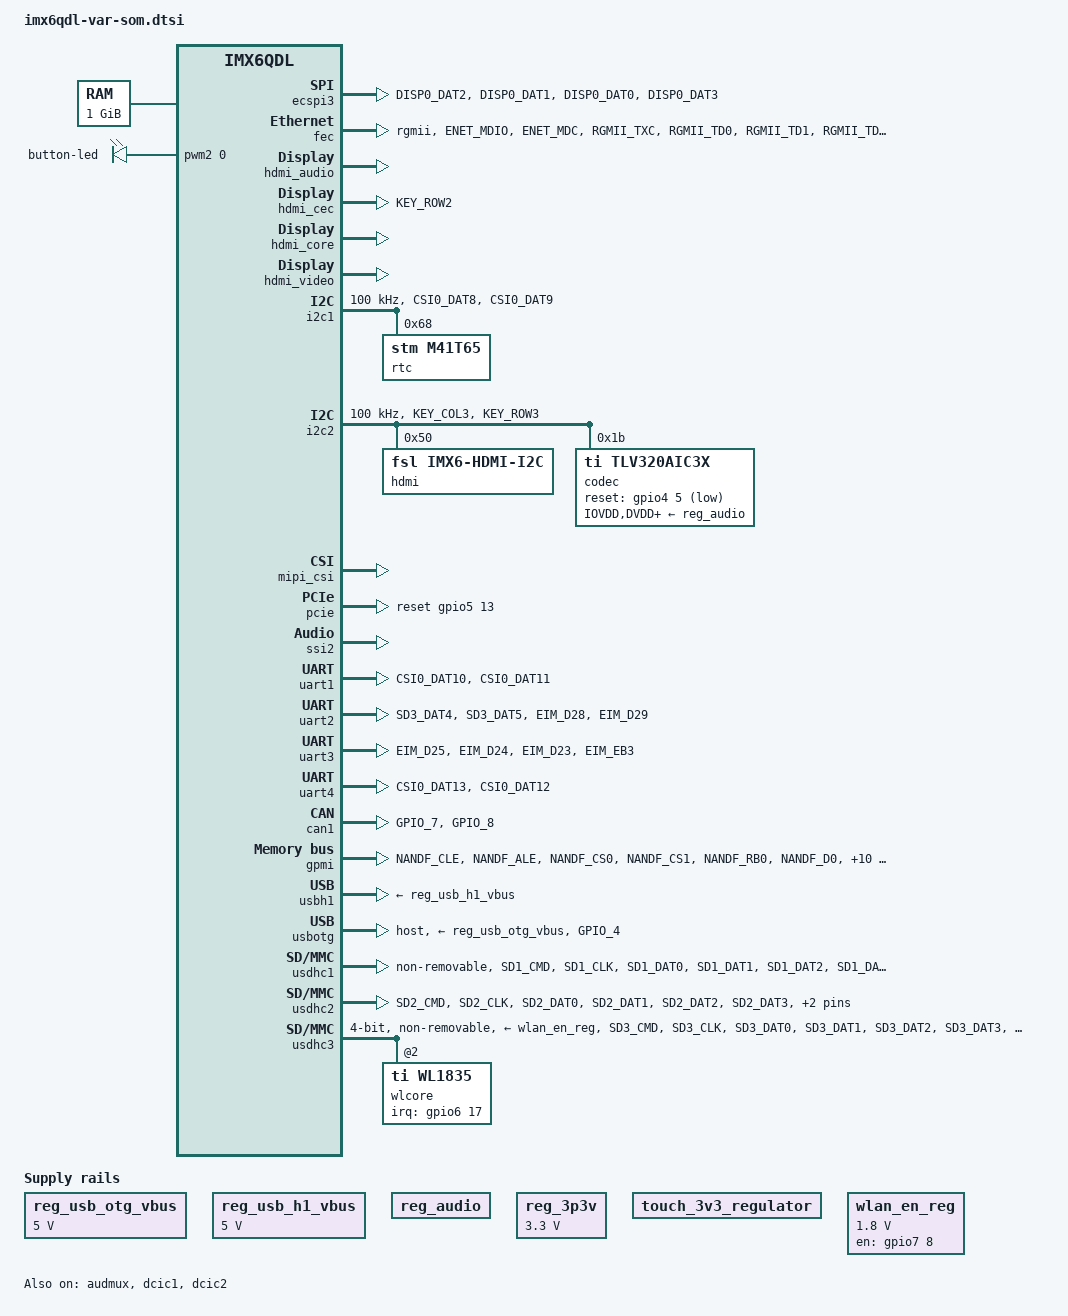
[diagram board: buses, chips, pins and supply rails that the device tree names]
/*
 * Copyright (C) 2014-2016 Variscite, Ltd. All Rights Reserved
 * Donio Ron: ron.d@variscite.com
 *
 * Copyright 2012 Freescale Semiconductor, Inc.
 * Copyright 2011 Linaro Ltd.
 *
 * The code contained herein is licensed under the GNU General Public
 * License. You may obtain a copy of the GNU General Public License
 * Version 2 or later at the following locations:
 *
 * http://www.opensource.org/licenses/gpl-license.html
 * http://www.gnu.org/copyleft/gpl.html
 */

#include <dt-bindings/gpio/gpio.h>
#include <dt-bindings/input/input.h>

/ {
	aliases {
		mxcfb0 = &mxcfb1;
		mxcfb1 = &mxcfb2;
		mxcfb2 = &mxcfb3;
		mxcfb3 = &mxcfb4;
	};

	chosen {
		stdout-path = &uart1;
	};

	memory: memory {
		reg = <0x10000000 0x40000000>;
	};

	regulators {
		compatible = "simple-bus";
		#address-cells = <1>;
		#size-cells = <0>;

		reg_usb_otg_vbus: regulator@0 {
			compatible = "regulator-fixed";
			reg = <0>;
			regulator-name = "usb_otg_vbus";
			regulator-min-microvolt = <5000000>;
			regulator-max-microvolt = <5000000>;
		};

		reg_usb_h1_vbus: regulator@1 {
			compatible = "regulator-fixed";
			reg = <1>;
			regulator-name = "usb_h1_vbus";
			regulator-min-microvolt = <5000000>;
			regulator-max-microvolt = <5000000>;
		};

		reg_audio: regulator@2 {
			compatible = "regulator-fixed";
			reg = <2>;
			regulator-name = "tlv320aic3x-supply";
			enable-active-high;
		};

		reg_3p3v: regulator@3 {
			compatible = "regulator-fixed";
			regulator-name = "3P3V";
			regulator-min-microvolt = <3300000>;
			regulator-max-microvolt = <3300000>;
			regulator-always-on;
		};

		touch_3v3_regulator: touch_3v3_regulator {
			compatible = "regulator-fixed";
			regulator-name = "touch_3v3_supply";
			regulator-always-on;
			status = "okay";
		};
	};

	wlan_en_reg: fixedregulator@2 {
		compatible = "regulator-fixed";
		regulator-name = "wlan-en-regulator";
		regulator-min-microvolt = <1800000>;
		regulator-max-microvolt = <1800000>;

		/* WLAN_EN GPIO for this board - Bank5, pin13 */
		gpio = <&gpio7 8 0>;

		/* WLAN card specific delay */
		startup-delay-us = <70000>;
		enable-active-high;
	};

	sound {
		compatible = "fsl,imx6q-var-som-tlv320aic3x", "fsl,imx-audio-tlv320aic3x";
		model = "tlv320aic3x-audio";
		cpu-dai = <&ssi2>;
		audio-codec = <&codec>;
		audio-routing =
			/* Headphone connected to HPLOUT, HPROUT */
			"Headphone Jack",	"HPLOUT",
			"Headphone Jack",	"HPROUT",
			"Line In Jack",		"LINE1L",
			"Line In Jack",		"LINE1R",
			"Playback",		"CPU-Playback",
			"CPU-Capture",		"Capture";
		mux-int-port = <2>;
		mux-ext-port = <3>;
	};

	sound-hdmi {
		compatible = "fsl,imx6q-audio-hdmi",
			     "fsl,imx-audio-hdmi";
		model = "imx-audio-hdmi";
		hdmi-controller = <&hdmi_audio>;
	};

	mxcfb1: fb@0 {
		compatible = "fsl,mxc_sdc_fb";
		disp_dev = "ldb";
		default_bpp = <16>;
		int_clk = <0>;
		late_init = <0>;
		status = "disabled";
	};

	mxcfb2: fb@1 {
		compatible = "fsl,mxc_sdc_fb";
		disp_dev = "hdmi";
		interface_pix_fmt = "RGB24";
		mode_str ="1920x1080M@60";
		default_bpp = <24>;
		int_clk = <0>;
		late_init = <0>;
		status = "disabled";
	};

	mxcfb3: fb@2 {
		compatible = "fsl,mxc_sdc_fb";
		disp_dev = "lcd";
		interface_pix_fmt = "RGB565";
		mode_str ="CLAA-WVGA";
		default_bpp = <16>;
		int_clk = <0>;
		late_init = <0>;
		status = "disabled";
	};

	mxcfb4: fb@3 {
		compatible = "fsl,mxc_sdc_fb";
		disp_dev = "ldb";
		interface_pix_fmt = "RGB666";
		default_bpp = <16>;
		int_clk = <0>;
		late_init = <0>;
		status = "disabled";
	};

    pwmleds {
        compatible = "pwm-leds";
        button-led {
            label = "button-led";
            pwms = <&pwm2 0 50000>;
            max-brightness = <255>;
            linux,default-trigger = "default-on";
            brightness = <255>;
        };
    };

	v4l2_cap_0 {
		compatible = "fsl,imx6q-v4l2-capture";
		ipu_id = <0>;
		csi_id = <1>;
		mclk_source = <0>;
		status = "okay";
	};

	v4l2_out {
		compatible = "fsl,mxc_v4l2_output";
		status = "okay";
	};
};

&audmux {
	pinctrl-names = "default";
	pinctrl-0 = <&pinctrl_audmux_2>;
	status = "okay";
};

&cpu0 {
	arm-supply = <&sw1a_reg>;
	soc-supply = <&sw1c_reg>;
};


&ecspi3 {
	fsl,spi-num-chipselects = <1>;
	pinctrl-names = "default", "sleep";
	pinctrl-0 = <&pinctrl_ecspi3_1>;
	pinctrl-1 = <&pinctrl_ecspi3_1_sleep>;
	cs-gpios = <&gpio4 24 0>;
	status = "okay";
};

&fec {
	pinctrl-names = "default";
	pinctrl-0 = <&pinctrl_enet_4>;
	phy-mode = "rgmii";
	phy-reset-gpios = <&gpio1 25 0>;
	phy-reset-duration=<100>;
	status = "okay";
};

&gpc {
	/* use ldo-bypass, u-boot will check it and configure */
	fsl,ldo-bypass = <1>;
};

&dcic1 {
	dcic_id = <0>;
	dcic_mux = "dcic-hdmi";
	status = "okay";
};

&dcic2 {
	dcic_id = <1>;
	dcic_mux = "dcic-lvds1";
	status = "okay";
};

&hdmi_audio {
	status = "okay";
};

&hdmi_cec {
	pinctrl-names = "default";
	pinctrl-0 = <&pinctrl_hdmi_cec>;
	status = "okay";
};

&hdmi_core {
	ipu_id = <0>;
	disp_id = <0>;
	status = "okay";
};

&hdmi_video {
	fsl,phy_reg_vlev = <0x0294>;
	fsl,phy_reg_cksymtx = <0x800d>;
	status = "okay";
};

&i2c1 {
    clock-frequency = <100000>;
    pinctrl-names = "default";
    pinctrl-0 = <&pinctrl_i2c1_2>;
    status = "okay";

    rtc: rtc@68 {
        compatible = "stm,m41t65";
        reg = <0x68>;
    };
};

&i2c2 {
	clock-frequency = <100000>;
	pinctrl-names = "default";
	pinctrl-0 = <&pinctrl_i2c2_2>;
	status = "okay";

	hdmi: edid@50 {
		compatible = "fsl,imx6-hdmi-i2c";
		reg = <0x50>;
	};

	codec: tlv320aic3x@1b {
		compatible = "ti,tlv320aic3x";
		reg = <0x1b>;
		clocks = <&clks IMX6QDL_CLK_CKO>;
		clock-names = "clko_clk";
		IOVDD-supply = <&reg_audio>;
		DVDD-supply = <&reg_audio>;
		AVDD-supply = <&reg_audio>;
		DRVDD-supply = <&reg_audio>;
		gpio-reset = <&gpio4 5 1>;
		ai3x-gpio-func = <
			0 /* AIC3X_GPIO1_FUNC_DISABLED */
			5 /* AIC3X_GPIO2_FUNC_DIGITAL_MIC_INPUT */
		>;
	};
};

&iomuxc {
	pinctrl-names = "default";
	pinctrl-0 = <&pinctrl_hog>;

	imx6qdl-var-som-mx6 {

		pinctrl_hog: hoggrp {
			fsl,pins = <
				/* CTW6120 IRQ */
				MX6QDL_PAD_EIM_DA7__GPIO3_IO07 		0x80000000
				/* for Bluetooth/wifi enable */
				MX6QDL_PAD_SD3_DAT6__GPIO6_IO18		0x1b0b1
				/* SDMMC2 CD/WP */
				MX6QDL_PAD_KEY_COL4__GPIO4_IO14		0x80000000
				MX6QDL_PAD_KEY_ROW4__GPIO4_IO15		0x80000000
				/* USBOTG ID pin */
				/*MX6QDL_PAD_GPIO_4__GPIO1_IO04		0x80000000*/
				/* PMIC INT */
				MX6QDL_PAD_GPIO_17__GPIO7_IO12		0x80000000
				/* Wifi Slow Clock */
				MX6QDL_PAD_ENET_RXD0__OSC32K_32K_OUT	0x000b0
				/* Audio Clock */
				MX6QDL_PAD_GPIO_0__CCM_CLKO1		0x130b0
				/* Audio reset */
				MX6QDL_PAD_GPIO_19__GPIO4_IO05		0x178b0
				/* Camera Clock */
				MX6QDL_PAD_GPIO_3__CCM_CLKO2		0x130b0
				/* Resistive touch irq */
				MX6QDL_PAD_DISP0_DAT4__GPIO4_IO25	0x178b0


				/******************************************************
                 *
                 * Openity Snapcap INPUT GPIOs
                 *
                 * MUST BE IN HOG GROUP TO WORK SINCE NO PIN CONFIGURATION NODE IS USED
                 *
                 ******************************************************/
				/* System Power Status */
                MX6QDL_PAD_CSI0_DAT15__GPIO6_IO01   0x000100B0  /* SHUTDOWN_REQUEST **Active Low** - (Pull up/down disabled - Pad Control Register: 0x20E0664) */
                MX6QDL_PAD_SD4_DAT3__GPIO2_IO11     0x000100B0  /* ON_BATTERY (Pull up/down disabled - Pad Control Register: 0x20E0710) */
                MX6QDL_PAD_CSI0_DAT14__GPIO6_IO00   0x000100B0  /* RES_BUTTON_ACTIVE (Pull up/down disabled - Pad Control Register: 0x20E0660) */

                /* Satellite Modem Data Port */
                MX6QDL_PAD_CSI0_MCLK__GPIO5_IO19    0x000100B0  /* SAT_DAT_DSR (Pull up/down disabled - Pad Control Register: 0x20E062C)  */
                MX6QDL_PAD_CSI0_DATA_EN__GPIO5_IO20 0x000100B0  /* SAT_DAT_DCD (Pull up/down disabled - Pad Control Register: 0x20E0630)  */
                MX6QDL_PAD_CSI0_PIXCLK__GPIO5_IO18  0x000100B0  /* SAT_DAT_RI (Pull up/down disabled - Pad Control Register: 0x20E0628)  */

                /* Satellite Modem Data Port */
                MX6QDL_PAD_CSI0_DAT17__GPIO6_IO03   0x000100B0  /* SAT_CTL_DSR (Pull up/down disabled - Pad Control Register: 0x20E066C)  */
			>;
		};

        /******************************************************
         *
         * Openity Snapcap OUTPUT GPIOs - Used by LEDs interface
         *
         ******************************************************/
        pinctrl_snapcap_gpio_output: snapcap_gpio_output {
            fsl,pins = <
                /* System Power Control */
                MX6QDL_PAD_SD4_DAT6__GPIO2_IO14     0x1B0B0  /* SHUTDOWN **Active Low** - (100K Pull-Up) */

                /* USB Power Control */
                MX6QDL_PAD_GPIO_9__GPIO1_IO09       0x1B0B0  /* HOST_USB_EN (100K Pull-Up) */
                MX6QDL_PAD_GPIO_1__GPIO1_IO01       0x1B0B0  /* OTG_USB_EN (100K Pull-Up) */

                /* Fan Power Control */
                MX6QDL_PAD_SD4_DAT1__GPIO2_IO09     0x130B0  /* FAN_CTL (100K Pull-down) */

                /* Satellite Modem Power Control */
                MX6QDL_PAD_GPIO_2__GPIO1_IO02       0x1B0B0  /* SAT_VEXT_ON (100K Pull-Up) */

                /* Satellite Modem Data Port */
                MX6QDL_PAD_CSI0_VSYNC__GPIO5_IO21   0x130B0  /* SAT_DAT_DTR (100K Pull-down) */

                /* Satellite Modem Control Port */
                MX6QDL_PAD_CSI0_DAT16__GPIO6_IO02   0x130B0  /* SAT_CTL_DTR (100K Pull-down) */

                /* Status LEDs */
                MX6QDL_PAD_CSI0_DAT18__GPIO6_IO04   0x130B0  /* STATUS_GREEN_1 (100K Pull-down) */
                MX6QDL_PAD_CSI0_DAT19__GPIO6_IO05   0x130B0  /* STATUS_GREEN_2 (100K Pull-down) */

                /* Test Points */
                MX6QDL_PAD_GPIO_5__GPIO1_IO05       0x130B0  /* TP1 (100K Pull-down) */
                MX6QDL_PAD_GPIO_16__GPIO7_IO11      0x130B0  /* TP2 (100K Pull-down) */

            >;
        };

        /******************************************************
         *
         * Openity Snapcap PWM OUTPUT - Button LED - Used by pwm2
         *
         ******************************************************/
        pinctrl_snapcap_pwm: snapcap_pwm {
            fsl,pins = <
            MX6QDL_PAD_DISP0_DAT9__PWM2_OUT   0x1B0B1 /* (100K Pull-up) BUTTON_LED*/
            >;
        };

        /******************************************************
         *
         * Openity Snapcap UART4 - Satellite Control Port - Used by uart4
         * ttymxc3 UART
         *
         ******************************************************/
        pinctrl_snapcap_uart4: snapcap_uart4 {   /* RX/TX */
            fsl,pins = <
            MX6QDL_PAD_CSI0_DAT13__UART4_RX_DATA   0x1b0b1
            MX6QDL_PAD_CSI0_DAT12__UART4_TX_DATA   0x1b0b1
            >;
        };

		pinctrl_audmux_2: audmux {
			fsl,pins = <
				MX6QDL_PAD_CSI0_DAT7__AUD3_RXD		0x130b0
				MX6QDL_PAD_CSI0_DAT4__AUD3_TXC		0x130b0
				MX6QDL_PAD_CSI0_DAT5__AUD3_TXD		0x110b0
				MX6QDL_PAD_CSI0_DAT6__AUD3_TXFS		0x130b0
			>;
		};

		pinctrl_enet_4: enetgrp {
			fsl,pins = <
				MX6QDL_PAD_ENET_MDIO__ENET_MDIO		0x1b0b0
				MX6QDL_PAD_ENET_MDC__ENET_MDC		0x1b0b0
				MX6QDL_PAD_RGMII_TXC__RGMII_TXC		0x1b0b0
				MX6QDL_PAD_RGMII_TD0__RGMII_TD0		0x1b0b0
				MX6QDL_PAD_RGMII_TD1__RGMII_TD1		0x1b0b0
				MX6QDL_PAD_RGMII_TD2__RGMII_TD2		0x1b0b0
				MX6QDL_PAD_RGMII_TD3__RGMII_TD3		0x1b0b0
				MX6QDL_PAD_RGMII_TX_CTL__RGMII_TX_CTL	0x1b0b0
				MX6QDL_PAD_ENET_REF_CLK__ENET_TX_CLK	0x1b0b0
				MX6QDL_PAD_RGMII_RXC__RGMII_RXC		0x1b0b0
				MX6QDL_PAD_RGMII_RD0__RGMII_RD0		0x1b0b0
				MX6QDL_PAD_RGMII_RD1__RGMII_RD1		0x1b0b0
				MX6QDL_PAD_RGMII_RD2__RGMII_RD2		0x1b0b0
				MX6QDL_PAD_RGMII_RD3__RGMII_RD3		0x1b0b0
				MX6QDL_PAD_RGMII_RX_CTL__RGMII_RX_CTL	0x1b0b0
			>;
		};

		pinctrl_enet_irq: enetirqgrp {
			fsl,pins = <
				MX6QDL_PAD_GPIO_6__ENET_IRQ		0x000b1
			>;
		};

		pinctrl_hdmi_cec: hdmicecgrp {
			fsl,pins = <
				MX6QDL_PAD_KEY_ROW2__HDMI_TX_CEC_LINE	0x1f8b0
			>;
		};

		pinctrl_hdmi_hdcp: hdmihdcpgrp {
			fsl,pins = <
				MX6QDL_PAD_KEY_COL3__HDMI_TX_DDC_SCL	0x4001b8b1
				MX6QDL_PAD_KEY_ROW3__HDMI_TX_DDC_SDA	0x4001b8b1
			>;
		};

        /******************************************************
         *
         * Openity Snapcap i2c1 - Used for RTC
         *
         ******************************************************/
		pinctrl_i2c1_2: i2c1grp {
			fsl,pins = <
				MX6QDL_PAD_CSI0_DAT8__I2C1_SDA		0x4001b8b1
				MX6QDL_PAD_CSI0_DAT9__I2C1_SCL		0x4001b8b1
			>;
		};

		pinctrl_i2c2_2: i2c2grp {
			fsl,pins = <
				MX6QDL_PAD_KEY_COL3__I2C2_SCL		0x4001b8b1
				MX6QDL_PAD_KEY_ROW3__I2C2_SDA		0x4001b8b1
			>;
		};

		/* Linux Console */
		pinctrl_uart1_1: uart1grp-1 { /* RX/TX only */
			fsl,pins = <
				MX6QDL_PAD_CSI0_DAT10__UART1_TX_DATA	0x1b0b1
				MX6QDL_PAD_CSI0_DAT11__UART1_RX_DATA	0x1b0b1
			>;
		};

		/* Variscite Bluetooth */
		pinctrl_uart2_3: uart2grp-3 { /* RTS/CTS only mode */
			fsl,pins = <
				MX6QDL_PAD_SD3_DAT4__UART2_RX_DATA	0x1b0b1
				MX6QDL_PAD_SD3_DAT5__UART2_TX_DATA	0x1b0b1
				MX6QDL_PAD_EIM_D28__UART2_CTS_B		0x1b0b1
				MX6QDL_PAD_EIM_D29__UART2_RTS_B		0x1b0b1
			>;
		};

		/* Variscite Uart2 support */
		pinctrl_uart3_2: uart3grp-2 {	/* RX/TX RTS/CTS */
			fsl,pins = <
				MX6QDL_PAD_EIM_D25__UART3_RX_DATA	0x1b0b1
				MX6QDL_PAD_EIM_D24__UART3_TX_DATA	0x1b0b1
				MX6QDL_PAD_EIM_D23__UART3_CTS_B		0x1b0b1
				MX6QDL_PAD_EIM_EB3__UART3_RTS_B		0x1b0b1
			>;
		};

		pinctrl_usbotg_var: usbotggrp-3 {
			fsl,pins = <
				MX6QDL_PAD_GPIO_4__GPIO1_IO04 		0x17059
			>;
		};

		pinctrl_usdhc1_1: usdhc1grp {
			fsl,pins = <
				MX6QDL_PAD_SD1_CMD__SD1_CMD		0x17071
				MX6QDL_PAD_SD1_CLK__SD1_CLK		0x10071
				MX6QDL_PAD_SD1_DAT0__SD1_DATA0		0x17071
				MX6QDL_PAD_SD1_DAT1__SD1_DATA1		0x17071
				MX6QDL_PAD_SD1_DAT2__SD1_DATA2		0x17071
				MX6QDL_PAD_SD1_DAT3__SD1_DATA3		0x17071
			>;
		};

		pinctrl_usdhc2_2: usdhc2grp {
			fsl,pins = <
				MX6QDL_PAD_SD2_CMD__SD2_CMD		0x17059
				MX6QDL_PAD_SD2_CLK__SD2_CLK		0x10059
				MX6QDL_PAD_SD2_DAT0__SD2_DATA0		0x17059
				MX6QDL_PAD_SD2_DAT1__SD2_DATA1		0x17059
				MX6QDL_PAD_SD2_DAT2__SD2_DATA2		0x17059
				MX6QDL_PAD_SD2_DAT3__SD2_DATA3		0x17059
			>;
		};

		pinctrl_usdhc3_2: usdhc3grp {
			fsl,pins = <
				MX6QDL_PAD_SD3_CMD__SD3_CMD		0x17069
				MX6QDL_PAD_SD3_CLK__SD3_CLK		0x10069
				MX6QDL_PAD_SD3_DAT0__SD3_DATA0		0x17069
				MX6QDL_PAD_SD3_DAT1__SD3_DATA1		0x17069
				MX6QDL_PAD_SD3_DAT2__SD3_DATA2		0x17069
				MX6QDL_PAD_SD3_DAT3__SD3_DATA3		0x17069
				MX6QDL_PAD_SD3_DAT7__GPIO6_IO17		0x13059   /* Reserve two pins from sd1 for wl8 gpio, this is pulled low at reset for WL_EN */
				MX6QDL_PAD_SD3_RST__GPIO7_IO08		0x13059   /* this is for wl_irq which driver will configure as an input with a pull down */
			>;
		};

		pinctrl_usdhc3_2_100mhz: usdhc3grp-100mhz {
			fsl,pins = <
				MX6QDL_PAD_SD3_CMD__SD3_CMD		0x170B9
				MX6QDL_PAD_SD3_CLK__SD3_CLK		0x100B9
				MX6QDL_PAD_SD3_DAT0__SD3_DATA0		0x170B9
				MX6QDL_PAD_SD3_DAT1__SD3_DATA1		0x170B9
				MX6QDL_PAD_SD3_DAT2__SD3_DATA2		0x170B9
				MX6QDL_PAD_SD3_DAT3__SD3_DATA3		0x170B9
				MX6QDL_PAD_SD3_DAT7__GPIO6_IO17		0x130B9   /* reserve two pins from sd1 for wl8 gpio, this is pulled low at reset for WL_EN */
				MX6QDL_PAD_SD3_RST__GPIO7_IO08		0x130B9   /* this is for wl_irq which driver will configure as an input with a pull down */
			>;
		};

		pinctrl_usdhc3_2_200mhz: usdhc3grp-200mhz {
			fsl,pins = <
				MX6QDL_PAD_SD3_CMD__SD3_CMD		0x170F9
				MX6QDL_PAD_SD3_CLK__SD3_CLK		0x100F9
				MX6QDL_PAD_SD3_DAT0__SD3_DATA0		0x170F9
				MX6QDL_PAD_SD3_DAT1__SD3_DATA1		0x170F9
				MX6QDL_PAD_SD3_DAT2__SD3_DATA2		0x170F9
				MX6QDL_PAD_SD3_DAT3__SD3_DATA3		0x170F9
				MX6QDL_PAD_SD3_DAT7__GPIO6_IO17		0x130F9   /* reserve two pins from sd1 for wl8 gpio, this is pulled low at reset for WL_EN */
				MX6QDL_PAD_SD3_RST__GPIO7_IO08		0x130F9   /* this is for wl_irq which driver will configure as an input with a pull down */
			>;
		};

		pinctrl_gpmi_nand_v1: gpmi-nand-1 {
			fsl,pins = <
				MX6QDL_PAD_NANDF_CLE__NAND_CLE		0xb0b1
				MX6QDL_PAD_NANDF_ALE__NAND_ALE		0xb0b1
				MX6QDL_PAD_NANDF_CS0__NAND_CE0_B	0xb0b1
				MX6QDL_PAD_NANDF_CS1__NAND_CE1_B	0xb0b1
				MX6QDL_PAD_NANDF_RB0__NAND_READY_B	0xb0b1
				MX6QDL_PAD_NANDF_D0__NAND_DATA00	0xb0b1
				MX6QDL_PAD_NANDF_D1__NAND_DATA01	0xb0b1
				MX6QDL_PAD_NANDF_D2__NAND_DATA02	0xb0b1
				MX6QDL_PAD_NANDF_D3__NAND_DATA03	0xb0b1
				MX6QDL_PAD_NANDF_D4__NAND_DATA04	0xb0b1
				MX6QDL_PAD_NANDF_D5__NAND_DATA05	0xb0b1
				MX6QDL_PAD_NANDF_D6__NAND_DATA06	0xb0b1
				MX6QDL_PAD_NANDF_D7__NAND_DATA07	0xb0b1
				MX6QDL_PAD_SD4_CMD__NAND_RE_B		0xb0b1
				MX6QDL_PAD_SD4_CLK__NAND_WE_B		0xb0b1
				MX6QDL_PAD_NANDF_WP_B__NAND_WP_B	0xb0b1
			>;
		};

		pinctrl_ecspi3_1: ecspi3grp {
			fsl,pins = <
				MX6QDL_PAD_DISP0_DAT2__ECSPI3_MISO	0x100b1
				MX6QDL_PAD_DISP0_DAT1__ECSPI3_MOSI	0x100b1
				MX6QDL_PAD_DISP0_DAT0__ECSPI3_SCLK	0x100b1
				MX6QDL_PAD_DISP0_DAT3__GPIO4_IO24	0x178b0 /* CS */
			>;
		};

		pinctrl_ecspi3_1_sleep: ecspi3sleepgrp {
			fsl,pins = <
				MX6QDL_PAD_DISP0_DAT2__GPIO4_IO23	0x178b0
				MX6QDL_PAD_DISP0_DAT1__GPIO4_IO22	0x178b0
				MX6QDL_PAD_DISP0_DAT0__GPIO4_IO21	0x178b0
				MX6QDL_PAD_DISP0_DAT3__GPIO4_IO24	0x178b0 /* CS */
			>;
		};

		pinctrl_flexcan1_3: flexcan1grp {
			fsl,pins = <
				MX6QDL_PAD_GPIO_7__FLEXCAN1_TX		0x80000000
				MX6QDL_PAD_GPIO_8__FLEXCAN1_RX		0x80000000
			>;
		};

	};
};

&mipi_csi {
	status = "okay";
	ipu_id = <0>;
	csi_id = <1>;
	v_channel = <0>;
	lanes = <2>;
};

&pcie {
	reset-gpio    = <&gpio5 13 0>;	/* gpio pin num of power good signal */
	wake-up-gpio  = <&gpio3 22 1>;	/* gpio pin num of incoming wakeup signal */
	status = "okay";
};

&ssi2 {
	fsl,mode = "i2s-slave";
	status = "okay";
};

&snvs_poweroff {
	status = "okay";
};

/* Console Uart */
&uart1 {
	pinctrl-names = "default";
	pinctrl-0 = <&pinctrl_uart1_1>;
	status = "okay";
};

/* Bluetooth Uart */
&uart2 {
	pinctrl-names = "default";
	pinctrl-0 = <&pinctrl_uart2_3>;
	fsl,uart-has-rtscts;
	status = "okay";
};

/* ttymxc2 UART */
&uart3 {
	pinctrl-names = "default";
	pinctrl-0 = <&pinctrl_uart3_2>;
	fsl,uart-has-rtscts;
	status = "okay";
};

/******************************************************
 *
 * Openity Snapcap UART4 - Satellite Control Port
 * ttymxc3 UART
 *
 ******************************************************/
&uart4 {
    pinctrl-names = "default";
    pinctrl-0 = <&pinctrl_snapcap_uart4>;
    status = "okay";
};

&can1 {
	pinctrl-names = "default";
	pinctrl-0 = <&pinctrl_flexcan1_3>;
	status = "okay";
};

&gpmi {
	pinctrl-names = "default";
	pinctrl-0 = <&pinctrl_gpmi_nand_v1>;
	fsl,legacy-bch-geometry;
	status = "okay";

	/* a 2 MiB partition */
	partition@0 {
		label = "spl";
		reg = <0x00000000 0x00200000>;
	};

	/* a 2 MiB partition */
	partition@1 {
		label = "bootloader";
		reg = <0x00200000 0x00200000>;
	};

	/* an 8 MiB partition */
	partition@2 {
		label = "kernel";
		reg = <0x00400000 0x00800000>;
	};

	/* a 1012 MiB partition */
	partition@3 {
		label = "rootfs";
		reg = <0x00c00000 0x3f400000>;
	};
};

&usbh1 {
	vbus-supply = <&reg_usb_h1_vbus>;
	status = "okay";
};

&usbotg {
	vbus-supply = <&reg_usb_otg_vbus>;
	pinctrl-names = "default";
	pinctrl-0 = <&pinctrl_usbotg_var>;
	disable-over-current;
	/* dr_mode: One of "host", "peripheral" or "otg". Defaults to "otg" */
	dr_mode = "host";
	srp-disable;
	hnp-disable;
	adp-disable;
	status = "okay";
};

&usbphy1 {
	tx-d-cal = <0x5>;
};

&usbphy2 {
	tx-d-cal = <0x5>;
};

&usdhc1 {	/* uSDHC1, eMMC */
	pinctrl-names = "default";
	pinctrl-0 = <&pinctrl_usdhc1_1>;
	non-removable;
	keep-power-in-suspend;
	enable-sdio-wakeup;
	status = "okay";
};

&usdhc2 {	/* uSDHC2, MMC/SD card */
	pinctrl-names = "default";
	pinctrl-0 = <&pinctrl_usdhc2_2>;
	cd-gpios = <&gpio4 14 GPIO_ACTIVE_LOW>;
	wp-gpios = <&gpio4 15 GPIO_ACTIVE_HIGH>;
	no-1-8-v;
	keep-power-in-suspend;
	enable-sdio-wakeup;
	status = "okay";
};

&usdhc3 {	/* uSDHC3, TiWi wl1271 7 Wilink8 WL18xx*/
	pinctrl-names = "default", "state_100mhz", "state_200mhz";
	pinctrl-0 = <&pinctrl_usdhc3_2>;
	pinctrl-1 = <&pinctrl_usdhc3_2_100mhz>;
	pinctrl-2 = <&pinctrl_usdhc3_2_200mhz>;
	keep-power-in-suspend;
	enable-sdio-wakeup;
	vmmc-supply = <&wlan_en_reg>;
	bus-width = <4>;
	non-removable;
	cap-power-off-card;
	status = "okay";
	#address-cells = <1>;
	#size-cells = <0>;
	wlcore: wlcore@0 {
		compatible = "ti,wl1835";
		reg = <2>;
		interrupt-parent = <&gpio6>;
		interrupts = <17 IRQ_TYPE_EDGE_RISING>;

		/* if a 12xx card is there, configure the clock to WL12XX_REFCLOCK_38_XTAL */
		ref-clock-frequency = <38400000>;
	};

};
